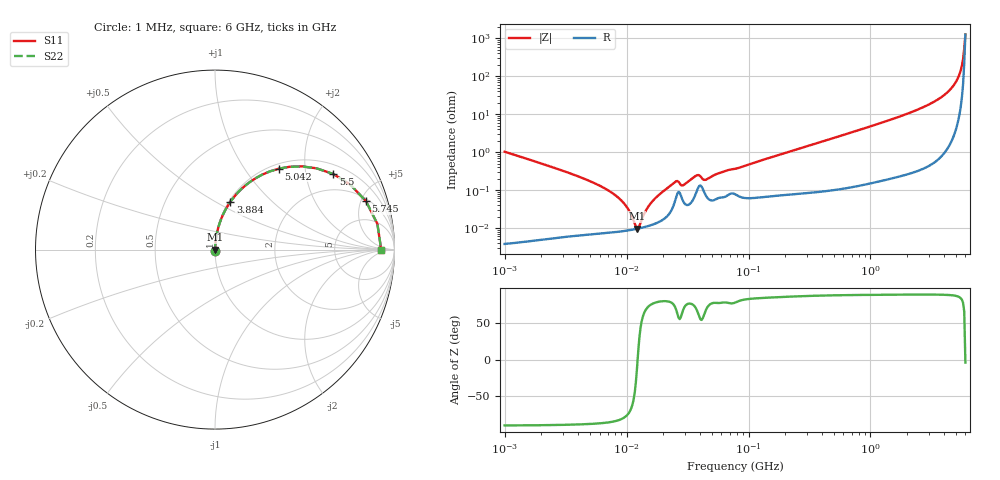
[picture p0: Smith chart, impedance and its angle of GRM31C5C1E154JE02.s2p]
!Murata Part Number: GRM31C5C1E154JE02
!These Parameters are Measured in Series Mode Connection
!Data Generated on Mar 30, 2021
!  o--ll--o
!Port1  Port2
!  o------o
!Operation Temp=25[degC], DC Bias Voltage=0[V]
!Freq. Start=1000[kHz] Stop=6[GHz] 401[Steps]
# Hz S RI R 50
!Freq.(Hz) S11(Real) S11(Imag) S21(Real) S21(Imag) S12(Real) S12(Imag) S22(Real) S22(Imag)
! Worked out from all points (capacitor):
!   401 points, 1 MHz to 6 GHz, reference 50 ohm
!   read as one part in series: C = 154 nF near 1.044 MHz
!   lowest |Z| = 9.68 mohm at 12.2 MHz (marker M1)
!   series resonance near 12.32 MHz, so ESL is about 1.1 nH
!   S11 on the Smith chart (normalised r, x): 1 MHz: 1.00, -0.02; 3.884 GHz: 1.02, +0.59; 5.042 GHz: 1.08, +1.46; 5.5 GHz: 1.32, +2.86; 5.745 GHz: 2.25, +5.52; 6 GHz: 26, -2
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1000000  0.000143 -0.0102  0.9999 0.0102  0.9999 0.0102  0.000143 -0.0102
4293785  6.86e-05 -0.0021  0.9999 0.0021  0.9999 0.0021  6.86e-05 -0.0021
6490864  7.36e-05 -0.00115  0.9999 0.00115  0.9999 0.00115  7.36e-05 -0.00115
8611770  8.01e-05 -0.000615  0.9999 0.000615  0.9999 0.000615  8.01e-05 -0.000615
1.024839e7  8.63e-05 -0.000312  0.9999 0.000312  0.9999 0.000312  8.63e-05 -0.000312
1.219603e7  9.52e-05 -1.74e-05  0.9999 1.74e-05  0.9999 1.74e-05  9.52e-05 -1.74e-05
1.273824e7  9.81e-05 5.66e-05  0.9999 -5.66e-05  0.9999 -5.66e-05  9.81e-05 5.66e-05
1.515906e7  0.000113 0.00036  0.9999 -0.00036  0.9999 -0.00036  0.000113 0.00036
1.843659e7  0.000145 0.000734  0.9999 -0.000734  0.9999 -0.000734  0.000145 0.000734
2.499862e7  0.000521 0.00156  0.9995 -0.00156  0.9995 -0.00156  0.000521 0.00156
2.910942e7  0.000507 0.00124  0.9995 -0.00124  0.9995 -0.00124  0.000507 0.00124
3.779011e7  0.000969 0.00225  0.999 -0.00225  0.999 -0.00225  0.000969 0.00225
4.497189e7  0.000696 0.00175  0.9993 -0.00175  0.9993 -0.00175  0.000696 0.00175
7.745967e7  0.000789 0.00353  0.9992 -0.00353  0.9992 -0.00353  0.000789 0.00353
3.325952e8  0.0011 0.0157  0.9989 -0.0157  0.9989 -0.0157  0.0011 0.0157
1.428092e9  0.00675 0.0691  0.9933 -0.0691  0.9933 -0.0691  0.00675 0.0691
3.883682e9  0.0854 0.2659  0.9146 -0.2659  0.9146 -0.2659  0.0854 0.2659
4.52232e9  0.1786 0.3647  0.8214 -0.3647  0.8214 -0.3647  0.1786 0.3647
5.04183e9  0.355 0.4508  0.645 -0.4508  0.645 -0.4508  0.355 0.4508
5.500089e9  0.6583 0.4215  0.3417 -0.4215  0.3417 -0.4215  0.6583 0.4215
5.744609e9  0.8417 0.2692  0.1583 -0.2692  0.1583 -0.2692  0.8417 0.2692
6e9  0.9267 -0.00492  0.0733 0.00492  0.0733 0.00492  0.9267 -0.00492
